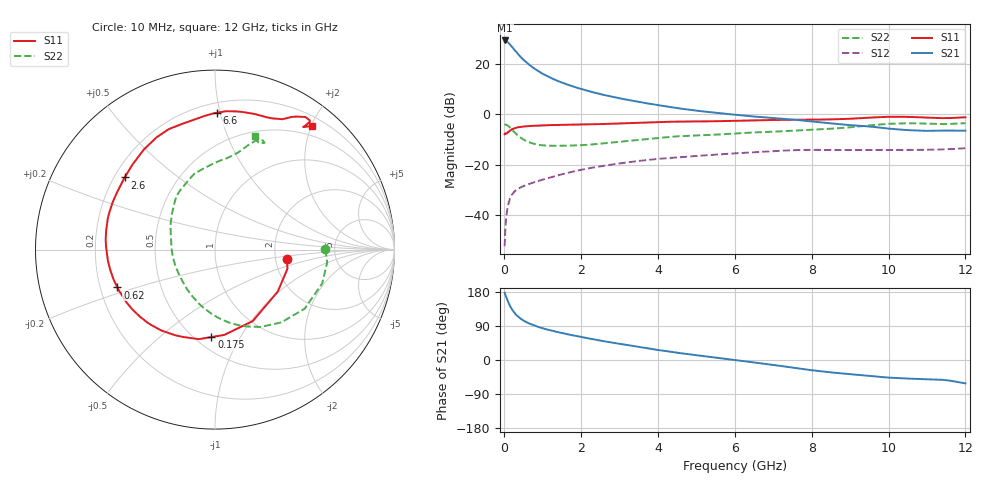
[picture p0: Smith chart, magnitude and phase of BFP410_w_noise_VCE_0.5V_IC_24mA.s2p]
! Infineon Technologies  Discrete & RF Semiconductors
! BFP410
! VCE =  0.5 V,  IC =  24 mA
! Common Emitter S-Parameters:  Nov 2015
# GHz  S  MA  R  50
!  f  S11  S21  S12  S22
! GHz  MAG  ANG  MAG  ANG  MAG  ANG  MAG  ANG
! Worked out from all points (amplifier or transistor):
!   243 points, 10 MHz to 12 GHz, reference 50 ohm
!   highest |S21| = 29.4 dB at 20 MHz (marker M1)
!   |S21| within 3 dB of that: start of sweep to 226.2 MHz
!   unconditionally stable (mu >= 1): start of sweep to 49.39 MHz; 836.8 MHz to end of sweep
!   at 240 MHz: K = 0.55, MSG = 28.6 dB, |S12| = -31.1 dB
!   at 1.84 GHz: K = 1.33, MAG = 13.3 dB, |S12| = -22.6 dB
!   at 12 GHz: K = 1.08, MAG = 1.8 dB, |S12| = -13.5 dB
!   lowest NFmin = 1.85 dB at 450 MHz
!   S11 on the Smith chart (normalised r, x): 10 MHz: 2.31, -0.29; 175 MHz: 0.60, -0.76; 620 MHz: 0.27, -0.17; 2.6 GHz: 0.24, +0.33; 6.6 GHz: 0.27, +0.98; 12 GHz: 0.34, +2.00
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0.01  0.4036 -7.5  27.97 177.8  0.0024 118.1  0.6148 0.1
0.02  0.4176 -14.8  29.44 174.2  0.0038 92.6  0.6289 -6.5
0.05  0.4207 -33.7  28.66 166.3  0.0088 81.9  0.6266 -17.4
0.1  0.4504 -62.1  27.06 153.7  0.0155 71.0  0.5983 -33.4
0.15  0.4784 -83.9  24.51 142.7  0.0212 62.6  0.5485 -47.7
0.175  0.4877 -92.3  23.24 138.5  0.0232 59.4  0.5213 -53.4
0.2  0.5071 -100.3  22.11 133.8  0.0253 56.7  0.4998 -59.6
0.26  0.5266 -115.2  19.35 125.4  0.0289 51.8  0.4469 -71.5
0.3  0.5405 -123.4  17.77 120.3  0.0309 49.3  0.4157 -78.8
0.36  0.5545 -133.1  15.76 114.6  0.0332 46.9  0.378 -87.8
0.45  0.5687 -144.2  13.28 107.4  0.0361 44.6  0.3349 -99.7
0.62  0.5834 -158.8  10.11 97.6  0.0406 43.3  0.2846 -117.7
0.9  0.5999 -174.1  7.127 86.7  0.0479 43.3  0.2484 -139.8
1.2  0.6116 174.8  5.365 78.1  0.0559 43.9  0.2388 -157.0
2.02  0.6289 153.9  3.167 60.4  0.0795 41.7  0.2447 174.0
2.6  0.6441 141.4  2.423 49.4  0.0954 37.5  0.266 158.3
4.1  0.7071 116.2  1.484 25.1  0.1322 24.3  0.3442 131.1
6.1  0.7474 94.3  0.967 -1.4  0.1695 6.6  0.4209 109.3
6.6  0.7627 89.2  0.893 -7.8  0.1783 1.9  0.4402 104.1
8.2  0.7886 71.1  0.7 -29.2  0.1963 -16.3  0.5035 84.9
10.2  0.8935 54.7  0.507 -47.5  0.196 -31.0  0.6553 68.4
12  0.876 52.0  0.475 -61.7  0.2123 -43.8  0.6692 70.5
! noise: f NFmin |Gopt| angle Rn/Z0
0.45  1.85  0.17  -160  0.18
0.9  1.85  0.2  -157  0.16
1.8  2  0.24  -139  0.19
2.4  2  0.28  -125  0.24
5.5  2.89  0.46  -101  0.5
10  4.02  0.72  -45  2.79
